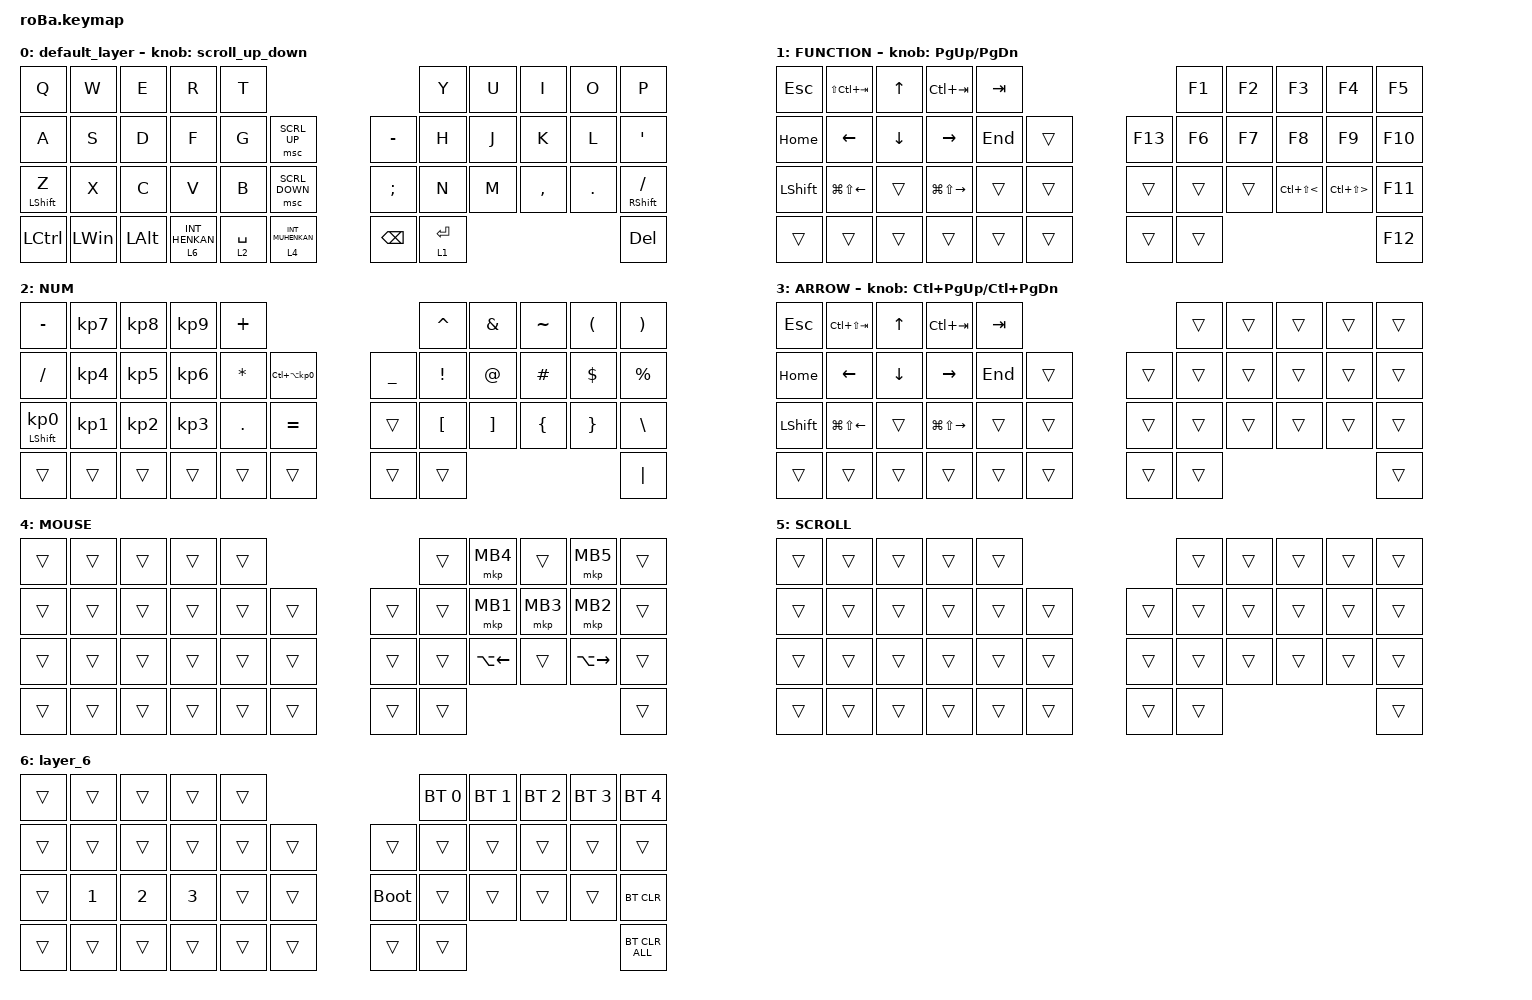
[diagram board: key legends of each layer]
#include <behaviors.dtsi>
#include <dt-bindings/zmk/bt.h>
#include <dt-bindings/zmk/keys.h>
#include <dt-bindings/zmk/pointing.h>

#define MOUSE 4
#define SCROLL 5
#define NUM 6

&mt {
    flavor = "balanced";
    quick-tap-ms = <0>;
};

/ {
    combos {
        compatible = "zmk,combos";

        tab {
            bindings = <&kp TAB>;
            key-positions = <11 12>;
        };

        shift_tab {
            bindings = <&kp LS(TAB)>;
            key-positions = <12 13>;
        };

        muhennkann {
            bindings = <&to_layer_0 INT_MUHENKAN>;
            key-positions = <11 10>;
        };

        double_quotation {
            bindings = <&kp DOUBLE_QUOTES>;
            key-positions = <20 21>;
        };

        eq {
            bindings = <&kp EQUAL>;
            key-positions = <24 25>;
        };

        ctrl+shift+, {
            bindings = <&none>;
            key-positions = <30 31>;
        };
    };

    macros {
        to_layer_0: to_layer_0 {
            compatible = "zmk,behavior-macro-one-param";
            #binding-cells = <1>;
            bindings = <&to 0 &macro_param_1to1 &kp MACRO_PLACEHOLDER>;
            label = "TO_LAYER_0";
        };
    };

    behaviors {
        lt_to_layer_0: lt_to_layer_0 {
            compatible = "zmk,behavior-hold-tap";
            label = "LAYER_TAP_TO_0";
            bindings = <&mo>, <&to_layer_0>;

            #binding-cells = <2>;
            tapping-term-ms = <200>;
        };

        scroll_up_down: scroll_up_down {
            compatible = "zmk,behavior-sensor-rotate";
            #sensor-binding-cells = <0>;
            bindings = <&msc SCRL_UP>, <&msc SCRL_DOWN>;

            tap-ms = <20>;
            label = "scroll_up_down";
        };
    };

    keymap {
        compatible = "zmk,keymap";

        default_layer {
            bindings = <
&kp Q             &kp W         &kp E         &kp R                        &kp T                                                          &kp Y        &kp U  &kp I      &kp O    &kp P
&kp A             &kp S         &kp D         &kp F                        &kp G        &msc SCRL_UP                       &kp MINUS      &kp H        &kp J  &kp K      &kp L    &kp SQT
&mt LEFT_SHIFT Z  &kp X         &kp C         &kp V                        &kp B        &msc SCRL_DOWN                     &kp SEMICOLON  &kp N        &kp M  &kp COMMA  &kp DOT  &mt RIGHT_SHIFT SLASH
&kp LCTRL         &kp LEFT_WIN  &kp LEFT_ALT  &lt_to_layer_0 6 INT_HENKAN  &lt 2 SPACE  &lt_to_layer_0 4 INT_MUHENKAN      &kp BACKSPACE  &lt 1 ENTER                             &kp DEL
            >;

            sensor-bindings = <&scroll_up_down>;
        };

        FUNCTION {
            bindings = <
&kp ESCAPE      &kp LS(LC(TAB))         &kp UP_ARROW    &kp LC(TAB)              &kp TAB                       &kp F1  &kp F2  &kp F3                 &kp F4                    &kp F5
&kp HOME        &kp LEFT_ARROW          &kp DOWN_ARROW  &kp RIGHT_ARROW          &kp END  &trans      &kp F13  &kp F6  &kp F7  &kp F8                 &kp F9                    &kp F10
&kp LEFT_SHIFT  &kp LG(LS(LEFT_ARROW))  &trans          &kp LG(LS(RIGHT_ARROW))  &trans   &trans      &trans   &trans  &trans  &kp LC(LS(LESS_THAN))  &kp LC(LS(GREATER_THAN))  &kp F11
&trans          &trans                  &trans          &trans                   &trans   &trans      &trans   &trans                                                           &kp F12
            >;

            sensor-bindings = <&inc_dec_kp PG_UP PG_DN>;
        };

        NUM {
            bindings = <
&kp MINUS                   &kp KP_NUMBER_7  &kp KP_NUMBER_8  &kp KP_NUMBER_9  &kp PLUS                                                   &kp CARET         &kp AMPERSAND      &kp TILDE       &kp LEFT_PARENTHESIS  &kp RIGHT_PARENTHESIS
&kp SLASH                   &kp KP_NUMBER_4  &kp KP_NUMBER_5  &kp KP_NUMBER_6  &kp ASTERISK  &kp LC(LA(KP_NUMBER_0))      &kp UNDERSCORE  &kp EXCLAMATION   &kp AT_SIGN        &kp HASH        &kp DOLLAR            &kp PERCENT
&mt LEFT_SHIFT KP_NUMBER_0  &kp KP_NUMBER_1  &kp KP_NUMBER_2  &kp KP_NUMBER_3  &kp PERIOD    &kp EQUAL                    &trans          &kp LEFT_BRACKET  &kp RIGHT_BRACKET  &kp LEFT_BRACE  &kp RIGHT_BRACE       &kp BACKSLASH
&trans                      &trans           &trans           &trans           &trans        &trans                       &trans          &trans                                                                     &kp PIPE
            >;
        };

        ARROW {
            bindings = <
&kp ESCAPE      &kp LC(LS(TAB))         &kp UP_ARROW    &kp LC(TAB)              &kp TAB                      &trans  &trans  &trans  &trans  &trans
&kp HOME        &kp LEFT_ARROW          &kp DOWN_ARROW  &kp RIGHT_ARROW          &kp END  &trans      &trans  &trans  &trans  &trans  &trans  &trans
&kp LEFT_SHIFT  &kp LG(LS(LEFT_ARROW))  &trans          &kp LG(LS(RIGHT_ARROW))  &trans   &trans      &trans  &trans  &trans  &trans  &trans  &trans
&trans          &trans                  &trans          &trans                   &trans   &trans      &trans  &trans                          &trans
            >;

            sensor-bindings = <&inc_dec_kp LC(PAGE_UP) LC(PAGE_DOWN)>;
        };

        MOUSE {
            bindings = <
&trans  &trans  &trans  &trans  &trans                      &trans  &mkp MB4            &trans    &mkp MB5             &trans
&trans  &trans  &trans  &trans  &trans  &trans      &trans  &trans  &mkp MB1            &mkp MB3  &mkp MB2             &trans
&trans  &trans  &trans  &trans  &trans  &trans      &trans  &trans  &kp LA(LEFT_ARROW)  &trans    &kp LA(RIGHT_ARROW)  &trans
&trans  &trans  &trans  &trans  &trans  &trans      &trans  &trans                                                     &trans
            >;
        };

        SCROLL {
            bindings = <
&trans  &trans  &trans  &trans  &trans                      &trans  &trans  &trans  &trans  &trans
&trans  &trans  &trans  &trans  &trans  &trans      &trans  &trans  &trans  &trans  &trans  &trans
&trans  &trans  &trans  &trans  &trans  &trans      &trans  &trans  &trans  &trans  &trans  &trans
&trans  &trans  &trans  &trans  &trans  &trans      &trans  &trans                          &trans
            >;
        };

        layer_6 {
            bindings = <
&trans  &trans        &trans        &trans        &trans                           &bt BT_SEL 0  &bt BT_SEL 1  &bt BT_SEL 2  &bt BT_SEL 3  &bt BT_SEL 4
&trans  &trans        &trans        &trans        &trans  &trans      &trans       &trans        &trans        &trans        &trans        &trans
&trans  &kp NUMBER_1  &kp NUMBER_2  &kp NUMBER_3  &trans  &trans      &bootloader  &trans        &trans        &trans        &trans        &bt BT_CLR
&trans  &trans        &trans        &trans        &trans  &trans      &trans       &trans                                                  &bt BT_CLR_ALL
            >;
        };
    };
};
